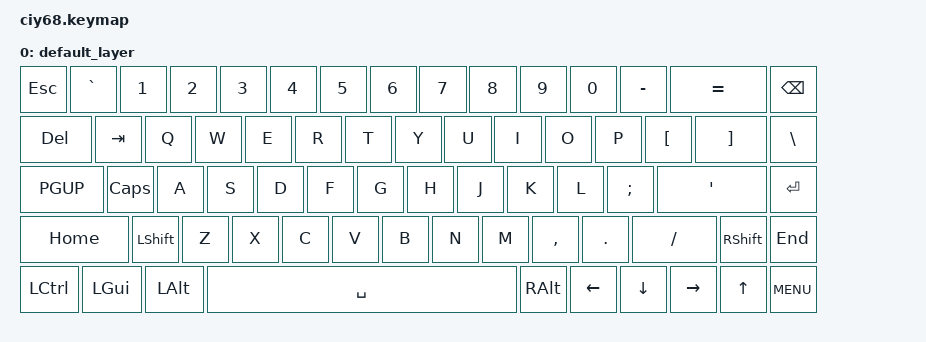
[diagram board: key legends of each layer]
#include <behaviors.dtsi>
#include <dt-bindings/zmk/keys.h>

/ {
    keymap {
        compatible = "zmk,keymap";

        default_layer {
            bindings = <
                &kp ESC    &kp GRAVE  &kp N1     &kp N2     &kp N3     &kp N4     &kp N5     &kp N6
                &kp N7     &kp N8     &kp N9     &kp N0     &kp MINUS  &kp EQUAL  &kp BSPC   &kp DEL
                &kp TAB    &kp Q      &kp W      &kp E      &kp R      &kp T      &kp Y      &kp U
                &kp I      &kp O      &kp P      &kp LBKT   &kp RBKT   &kp BSLH   &kp PGUP
                &kp CAPS   &kp A      &kp S      &kp D      &kp F      &kp G      &kp H      &kp J
                &kp K      &kp L      &kp SCLN   &kp QUOT   &kp ENTER  &kp HOME
                &kp LSHIFT &kp Z      &kp X      &kp C      &kp V      &kp B      &kp N      &kp M
                &kp COMMA  &kp DOT    &kp SLASH  &kp RSHIFT &kp END
                &kp LCTL   &kp LGUI   &kp LALT   &kp SPACE  &kp RALT   &kp LEFT   &kp DOWN   &kp RIGHT
                &kp UP     &kp MENU
            >;
        };
    };
};
